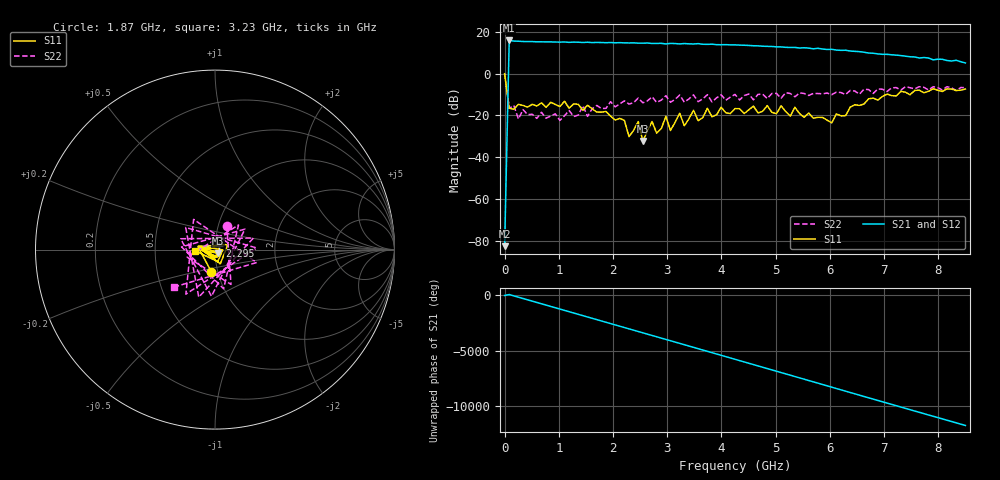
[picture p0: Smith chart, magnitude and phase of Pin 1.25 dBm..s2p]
! RsaToolbox (C) 2013 Rohde & Schwarz America
! Number of points: 101
! Number of ports: 2
! Balanced ports?: 0
# Hz S RI R 50
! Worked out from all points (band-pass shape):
!   101 points, 9 kHz to 8.5 GHz, reference 50 ohm
!   highest |S21| = 15.92 dB at 85.01 MHz (marker M1); lowest = -82.6 dB at 9 kHz (marker M2)
!   |S21| within 3 dB of the highest: 82.42 MHz to 4.985 GHz (4.903 GHz wide, 193 % of centre)
!   lowest |S11| = -32.2 dB at 2.55 GHz (marker M3), VSWR 1.05, Z = 51.5 - j2.01 ohm
!   |S11| at or under -10 dB: 51.42 MHz to 7.038 GHz (6.986 GHz wide, 197 % of centre); 7.08 GHz to 7.25 GHz (169.4 MHz wide, 2.36 % of centre); 7.47336 GHz to 7.483931 GHz (10.57 MHz wide, 0.141 % of centre)
!   |S22| runs from -22.4 to 0.1 dB; largest |S21 - S12| = 0
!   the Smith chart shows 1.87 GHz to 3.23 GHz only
!   S11 on the Smith chart (normalised r, x): 1.87 GHz: 0.93, -0.23; 2.295 GHz: 1.05, +0.04; 3.23 GHz: 0.80, -0.01
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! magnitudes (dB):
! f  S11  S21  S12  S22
! 9 kHz  0.0  -82.6  -82.6  0.1
! 85.01 MHz  -16.5  15.9  15.9  -16.6
! 1.02 GHz  -15.7  15.1  15.1  -22.4
! 1.445 GHz  -17.5  14.9  14.9  -15.3
! 1.53 GHz  -15.1  15.1  15.1  -20.5
! 1.87 GHz  -18.1  14.8  14.8  -16.6
! 2.21 GHz  -22.4  14.8  14.8  -13.0
! 2.295 GHz  -30.2  14.7  14.7  -14.6
! 2.465 GHz  -23.0  14.6  14.6  -11.7
! 2.55 GHz  -32.2  14.6  14.6  -13.9
! 2.72 GHz  -22.9  14.5  14.5  -11.1
! 2.89 GHz  -26.3  14.5  14.5  -12.7
! 3.06 GHz  -27.2  14.5  14.5  -13.7
! 3.23 GHz  -19.0  14.2  14.2  -10.2
! 3.315 GHz  -25.0  14.4  14.4  -13.6
! 3.485 GHz  -17.5  14.2  14.2  -10.2
! 3.57 GHz  -22.5  14.4  14.4  -13.4
! 4.25 GHz  -16.7  13.8  13.8  -9.9
! 5.695 GHz  -21.3  11.9  11.9  -9.5
! 6.035 GHz  -23.6  11.7  11.7  -10.0
! 7.14 GHz  -10.5  9.0  9.0  -6.8
! 8.5 GHz  -7.4  5.1  5.1  -6.7
